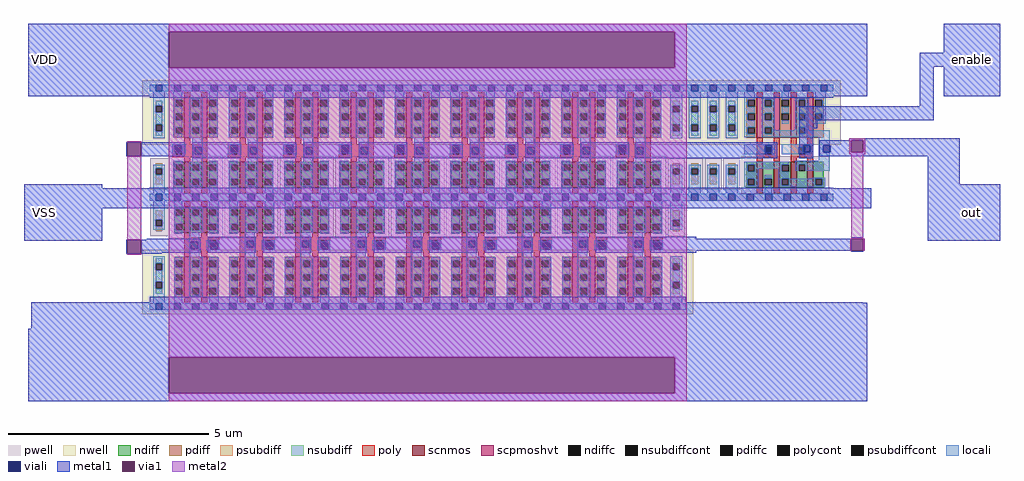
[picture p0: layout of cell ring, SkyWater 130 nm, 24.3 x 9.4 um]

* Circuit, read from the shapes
.subckt ring VSS VDD enable out
XM1 sky130_fd_sc_hd__inv_2_1/A sky130_fd_sc_hd__inv_2_8/A VSS VSS sky130_fd_pr__nfet_01v8 w=0.65 l=0.15 m=2
XM2 sky130_fd_sc_hd__inv_2_2/A sky130_fd_sc_hd__inv_2_1/A VSS VSS sky130_fd_pr__nfet_01v8 w=0.65 l=0.15 m=2
XM3 sky130_fd_sc_hd__inv_2_8/A sky130_fd_sc_hd__inv_2_17/A VSS VSS sky130_fd_pr__nfet_01v8 w=0.65 l=0.15 m=2
XM4 sky130_fd_sc_hd__inv_2_3/A sky130_fd_sc_hd__inv_2_2/A VSS VSS sky130_fd_pr__nfet_01v8 w=0.65 l=0.15 m=2
XM5 sky130_fd_sc_hd__inv_2_17/A sky130_fd_sc_hd__inv_2_16/A VSS VSS sky130_fd_pr__nfet_01v8 w=0.65 l=0.15 m=2
XM6 sky130_fd_sc_hd__inv_2_4/A sky130_fd_sc_hd__inv_2_3/A VSS VSS sky130_fd_pr__nfet_01v8 w=0.65 l=0.15 m=2
XM7 sky130_fd_sc_hd__inv_2_16/A sky130_fd_sc_hd__inv_2_15/A VSS VSS sky130_fd_pr__nfet_01v8 w=0.65 l=0.15 m=2
XM8 sky130_fd_sc_hd__inv_2_5/A sky130_fd_sc_hd__inv_2_4/A VSS VSS sky130_fd_pr__nfet_01v8 w=0.65 l=0.15 m=2
XM9 sky130_fd_sc_hd__inv_2_15/A sky130_fd_sc_hd__inv_2_14/A VSS VSS sky130_fd_pr__nfet_01v8 w=0.65 l=0.15 m=2
XM10 sky130_fd_sc_hd__inv_2_6/A sky130_fd_sc_hd__inv_2_5/A VSS VSS sky130_fd_pr__nfet_01v8 w=0.65 l=0.15 m=2
XM11 sky130_fd_sc_hd__inv_2_14/A sky130_fd_sc_hd__inv_2_13/A VSS VSS sky130_fd_pr__nfet_01v8 w=0.65 l=0.15 m=2
XM12 sky130_fd_sc_hd__inv_2_7/A sky130_fd_sc_hd__inv_2_6/A VSS VSS sky130_fd_pr__nfet_01v8 w=0.65 l=0.15 m=2
XM13 sky130_fd_sc_hd__inv_2_13/A sky130_fd_sc_hd__inv_2_12/A VSS VSS sky130_fd_pr__nfet_01v8 w=0.65 l=0.15 m=2
XM14 sky130_fd_sc_hd__inv_2_0/A sky130_fd_sc_hd__inv_2_7/A VSS VSS sky130_fd_pr__nfet_01v8 w=0.65 l=0.15 m=2
XM15 sky130_fd_sc_hd__inv_2_12/A sky130_fd_sc_hd__inv_2_11/A VSS VSS sky130_fd_pr__nfet_01v8 w=0.65 l=0.15 m=2
XM16 sky130_fd_sc_hd__inv_2_9/A sky130_fd_sc_hd__inv_2_0/A VSS VSS sky130_fd_pr__nfet_01v8 w=0.65 l=0.15 m=2
XM17 sky130_fd_sc_hd__inv_2_11/A out VSS VSS sky130_fd_pr__nfet_01v8 w=0.65 l=0.15 m=2
XM18 sky130_fd_sc_hd__nand2_2_0/B sky130_fd_sc_hd__inv_2_9/A VSS VSS sky130_fd_pr__nfet_01v8 w=0.65 l=0.15 m=2
XM19 VSS sky130_fd_sc_hd__nand2_2_0/B n1 VSS sky130_fd_pr__nfet_01v8 w=0.65 l=0.15 m=2
XM20 out enable n1 VSS sky130_fd_pr__nfet_01v8 w=0.65 l=0.15 m=2
XM21 sky130_fd_sc_hd__inv_2_1/A sky130_fd_sc_hd__inv_2_8/A VDD VDD sky130_fd_pr__pfet_01v8_hvt w=1 l=0.15 m=2
XM22 sky130_fd_sc_hd__inv_2_2/A sky130_fd_sc_hd__inv_2_1/A VDD VDD sky130_fd_pr__pfet_01v8_hvt w=1 l=0.15 m=2
XM23 sky130_fd_sc_hd__inv_2_8/A sky130_fd_sc_hd__inv_2_17/A VDD VDD sky130_fd_pr__pfet_01v8_hvt w=1 l=0.15 m=2
XM24 sky130_fd_sc_hd__inv_2_3/A sky130_fd_sc_hd__inv_2_2/A VDD VDD sky130_fd_pr__pfet_01v8_hvt w=1 l=0.15 m=2
XM25 sky130_fd_sc_hd__inv_2_17/A sky130_fd_sc_hd__inv_2_16/A VDD VDD sky130_fd_pr__pfet_01v8_hvt w=1 l=0.15 m=2
XM26 sky130_fd_sc_hd__inv_2_4/A sky130_fd_sc_hd__inv_2_3/A VDD VDD sky130_fd_pr__pfet_01v8_hvt w=1 l=0.15 m=2
XM27 sky130_fd_sc_hd__inv_2_16/A sky130_fd_sc_hd__inv_2_15/A VDD VDD sky130_fd_pr__pfet_01v8_hvt w=1 l=0.15 m=2
XM28 sky130_fd_sc_hd__inv_2_5/A sky130_fd_sc_hd__inv_2_4/A VDD VDD sky130_fd_pr__pfet_01v8_hvt w=1 l=0.15 m=2
XM29 sky130_fd_sc_hd__inv_2_15/A sky130_fd_sc_hd__inv_2_14/A VDD VDD sky130_fd_pr__pfet_01v8_hvt w=1 l=0.15 m=2
XM30 sky130_fd_sc_hd__inv_2_6/A sky130_fd_sc_hd__inv_2_5/A VDD VDD sky130_fd_pr__pfet_01v8_hvt w=1 l=0.15 m=2
XM31 sky130_fd_sc_hd__inv_2_14/A sky130_fd_sc_hd__inv_2_13/A VDD VDD sky130_fd_pr__pfet_01v8_hvt w=1 l=0.15 m=2
XM32 sky130_fd_sc_hd__inv_2_7/A sky130_fd_sc_hd__inv_2_6/A VDD VDD sky130_fd_pr__pfet_01v8_hvt w=1 l=0.15 m=2
XM33 sky130_fd_sc_hd__inv_2_13/A sky130_fd_sc_hd__inv_2_12/A VDD VDD sky130_fd_pr__pfet_01v8_hvt w=1 l=0.15 m=2
XM34 sky130_fd_sc_hd__inv_2_0/A sky130_fd_sc_hd__inv_2_7/A VDD VDD sky130_fd_pr__pfet_01v8_hvt w=1 l=0.15 m=2
XM35 sky130_fd_sc_hd__inv_2_12/A sky130_fd_sc_hd__inv_2_11/A VDD VDD sky130_fd_pr__pfet_01v8_hvt w=1 l=0.15 m=2
XM36 sky130_fd_sc_hd__inv_2_9/A sky130_fd_sc_hd__inv_2_0/A VDD VDD sky130_fd_pr__pfet_01v8_hvt w=1 l=0.15 m=2
XM37 sky130_fd_sc_hd__inv_2_11/A out VDD VDD sky130_fd_pr__pfet_01v8_hvt w=1 l=0.15 m=2
XM38 sky130_fd_sc_hd__nand2_2_0/B sky130_fd_sc_hd__inv_2_9/A VDD VDD sky130_fd_pr__pfet_01v8_hvt w=1 l=0.15 m=2
XM39 out sky130_fd_sc_hd__nand2_2_0/B VDD VDD sky130_fd_pr__pfet_01v8_hvt w=1 l=0.15 m=2
XM40 out enable VDD VDD sky130_fd_pr__pfet_01v8_hvt w=1 l=0.15 m=2
.ends

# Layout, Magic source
magic
tech sky130A
magscale 1 2
<< nwell >>
rect 2640 136 2944 360
<< viali >>
rect 530 0 564 34
rect 630 -10 664 24
rect 810 0 844 34
rect 906 -10 940 24
rect 1086 0 1120 34
rect 1182 -10 1216 24
rect 1362 0 1396 34
rect 1458 -10 1492 24
rect 1638 0 1672 34
rect 1734 -10 1768 24
rect 1914 0 1948 34
rect 2010 -10 2044 24
rect 2190 0 2224 34
rect 2286 -10 2320 24
rect 2466 0 2500 34
rect 2562 -10 2596 24
rect 2742 0 2776 34
rect 2830 -10 2864 24
rect 3470 0 3504 34
rect 3660 0 3694 34
rect 3760 0 3794 34
rect 610 -480 644 -446
rect 710 -484 744 -450
rect 890 -474 924 -440
rect 986 -484 1020 -450
rect 1166 -474 1200 -440
rect 1262 -484 1296 -450
rect 1442 -474 1476 -440
rect 1538 -484 1572 -450
rect 1718 -474 1752 -440
rect 1814 -484 1848 -450
rect 1994 -474 2028 -440
rect 2090 -484 2124 -450
rect 2270 -474 2304 -440
rect 2366 -484 2400 -450
rect 2546 -474 2580 -440
rect 2642 -484 2676 -450
rect 2822 -474 2856 -440
rect 2918 -484 2952 -450
<< metal1 >>
rect -200 600 3980 640
rect -200 420 500 600
rect 3020 420 3980 600
rect 4360 495 4640 640
rect -200 280 3980 420
rect 4240 425 4640 495
rect 4240 230 4310 425
rect 4360 280 4640 425
rect 3640 160 4310 230
rect 3640 120 3730 160
rect 289 -20 295 50
rect 365 34 580 50
rect 365 0 530 34
rect 564 0 580 34
rect 365 -20 580 0
rect 620 34 860 50
rect 620 24 810 34
rect 620 -10 630 24
rect 664 0 810 24
rect 844 0 860 34
rect 664 -10 860 0
rect 620 -30 860 -10
rect 896 34 1136 50
rect 896 24 1086 34
rect 896 -10 906 24
rect 940 0 1086 24
rect 1120 0 1136 34
rect 940 -10 1136 0
rect 896 -30 1136 -10
rect 1172 34 1412 50
rect 1172 24 1362 34
rect 1172 -10 1182 24
rect 1216 0 1362 24
rect 1396 0 1412 34
rect 1216 -10 1412 0
rect 1172 -30 1412 -10
rect 1448 34 1688 50
rect 1448 24 1638 34
rect 1448 -10 1458 24
rect 1492 0 1638 24
rect 1672 0 1688 34
rect 1492 -10 1688 0
rect 1448 -30 1688 -10
rect 1724 34 1964 50
rect 1724 24 1914 34
rect 1724 -10 1734 24
rect 1768 0 1914 24
rect 1948 0 1964 34
rect 1768 -10 1964 0
rect 1724 -30 1964 -10
rect 2000 34 2240 50
rect 2000 24 2190 34
rect 2000 -10 2010 24
rect 2044 0 2190 24
rect 2224 0 2240 34
rect 2044 -10 2240 0
rect 2000 -30 2240 -10
rect 2276 34 2516 50
rect 2276 24 2466 34
rect 2276 -10 2286 24
rect 2320 0 2466 24
rect 2500 0 2516 34
rect 2320 -10 2516 0
rect 2276 -30 2516 -10
rect 2552 34 2792 50
rect 2552 24 2742 34
rect 2552 -10 2562 24
rect 2596 0 2742 24
rect 2776 0 2792 34
rect 2596 -10 2792 0
rect 2552 -30 2792 -10
rect 2820 34 3530 50
rect 2820 24 3470 34
rect 2820 -10 2830 24
rect 2864 0 3470 24
rect 3504 0 3530 34
rect 2864 -10 3530 0
rect 2820 -30 3530 -10
rect 3640 34 3710 120
rect 3890 60 4440 70
rect 3640 0 3660 34
rect 3694 0 3710 34
rect 3640 -30 3710 0
rect 3740 34 3900 60
rect 3740 0 3760 34
rect 3794 0 3900 34
rect 3960 0 4440 60
rect 3740 -20 4440 0
rect 4280 -160 4440 -20
rect -220 -180 170 -160
rect -220 -280 4000 -180
rect -220 -440 170 -280
rect 390 -435 660 -430
rect 289 -505 295 -435
rect 365 -446 660 -435
rect 365 -480 610 -446
rect 644 -480 660 -446
rect 365 -500 660 -480
rect 694 -440 934 -420
rect 694 -450 890 -440
rect 694 -484 710 -450
rect 744 -474 890 -450
rect 924 -474 934 -440
rect 744 -484 934 -474
rect 694 -500 934 -484
rect 970 -440 1210 -420
rect 970 -450 1166 -440
rect 970 -484 986 -450
rect 1020 -474 1166 -450
rect 1200 -474 1210 -440
rect 1020 -484 1210 -474
rect 970 -500 1210 -484
rect 1246 -440 1486 -420
rect 1246 -450 1442 -440
rect 1246 -484 1262 -450
rect 1296 -474 1442 -450
rect 1476 -474 1486 -440
rect 1296 -484 1486 -474
rect 1246 -500 1486 -484
rect 1522 -440 1762 -420
rect 1522 -450 1718 -440
rect 1522 -484 1538 -450
rect 1572 -474 1718 -450
rect 1752 -474 1762 -440
rect 1572 -484 1762 -474
rect 1522 -500 1762 -484
rect 1798 -440 2038 -420
rect 1798 -450 1994 -440
rect 1798 -484 1814 -450
rect 1848 -474 1994 -450
rect 2028 -474 2038 -440
rect 1848 -484 2038 -474
rect 1798 -500 2038 -484
rect 2074 -440 2314 -420
rect 2074 -450 2270 -440
rect 2074 -484 2090 -450
rect 2124 -474 2270 -450
rect 2304 -474 2314 -440
rect 2124 -484 2314 -474
rect 2074 -500 2314 -484
rect 2350 -440 2590 -420
rect 2350 -450 2546 -440
rect 2350 -484 2366 -450
rect 2400 -474 2546 -450
rect 2580 -474 2590 -440
rect 2400 -484 2590 -474
rect 2350 -500 2590 -484
rect 2626 -440 2866 -420
rect 2626 -450 2822 -440
rect 2626 -484 2642 -450
rect 2676 -474 2822 -450
rect 2856 -474 2866 -440
rect 2676 -484 2866 -474
rect 2626 -500 2866 -484
rect 2902 -430 3128 -420
rect 3900 -430 3960 -424
rect 2902 -450 3900 -430
rect 2902 -484 2918 -450
rect 2952 -484 3900 -450
rect 2902 -490 3900 -484
rect 4280 -440 4640 -160
rect 2902 -500 3128 -490
rect 3900 -496 3960 -490
rect 365 -505 465 -500
rect -184 -750 3956 -748
rect -184 -880 3980 -750
rect -200 -1020 3980 -880
rect -200 -1200 500 -1020
rect 3020 -1200 3980 -1020
rect -200 -1240 3980 -1200
<< via1 >>
rect 500 420 3020 600
rect 295 -20 365 50
rect 3900 0 3960 60
rect 295 -505 365 -435
rect 3900 -490 3960 -430
rect 500 -1200 3020 -1020
<< metal2 >>
rect 500 600 3080 640
rect 3020 420 3080 600
rect 295 50 365 56
rect 295 -435 365 -20
rect 295 -511 365 -505
rect 500 -1020 3080 420
rect 3890 60 3970 70
rect 3890 0 3900 60
rect 3960 0 3970 60
rect 3890 -10 3970 0
rect 3900 -430 3960 -10
rect 3894 -490 3900 -430
rect 3960 -490 3966 -430
rect 3020 -1200 3080 -1020
rect 500 -1240 3080 -1200
use sky130_fd_sc_hd__inv_2  sky130_fd_sc_hd__inv_2_0
transform 1 0 2430 0 1 -224
box -38 -48 314 592
use sky130_fd_sc_hd__inv_2  sky130_fd_sc_hd__inv_2_1
transform 1 0 498 0 1 -224
box -38 -48 314 592
use sky130_fd_sc_hd__inv_2  sky130_fd_sc_hd__inv_2_2
transform 1 0 774 0 1 -224
box -38 -48 314 592
use sky130_fd_sc_hd__inv_2  sky130_fd_sc_hd__inv_2_3
transform 1 0 1050 0 1 -224
box -38 -48 314 592
use sky130_fd_sc_hd__inv_2  sky130_fd_sc_hd__inv_2_4
transform 1 0 1326 0 1 -224
box -38 -48 314 592
use sky130_fd_sc_hd__inv_2  sky130_fd_sc_hd__inv_2_5
transform 1 0 1602 0 1 -224
box -38 -48 314 592
use sky130_fd_sc_hd__inv_2  sky130_fd_sc_hd__inv_2_6
transform 1 0 1878 0 1 -224
box -38 -48 314 592
use sky130_fd_sc_hd__inv_2  sky130_fd_sc_hd__inv_2_7
transform 1 0 2154 0 1 -224
box -38 -48 314 592
use sky130_fd_sc_hd__inv_2  sky130_fd_sc_hd__inv_2_8
transform -1 0 774 0 -1 -224
box -38 -48 314 592
use sky130_fd_sc_hd__inv_2  sky130_fd_sc_hd__inv_2_9
transform 1 0 2706 0 1 -224
box -38 -48 314 592
use sky130_fd_sc_hd__inv_2  sky130_fd_sc_hd__inv_2_10
transform -1 0 2982 0 -1 -224
box -38 -48 314 592
use sky130_fd_sc_hd__inv_2  sky130_fd_sc_hd__inv_2_11
transform -1 0 2706 0 -1 -224
box -38 -48 314 592
use sky130_fd_sc_hd__inv_2  sky130_fd_sc_hd__inv_2_12
transform -1 0 2430 0 -1 -224
box -38 -48 314 592
use sky130_fd_sc_hd__inv_2  sky130_fd_sc_hd__inv_2_13
transform -1 0 2154 0 -1 -224
box -38 -48 314 592
use sky130_fd_sc_hd__inv_2  sky130_fd_sc_hd__inv_2_14
transform -1 0 1878 0 -1 -224
box -38 -48 314 592
use sky130_fd_sc_hd__inv_2  sky130_fd_sc_hd__inv_2_15
transform -1 0 1602 0 -1 -224
box -38 -48 314 592
use sky130_fd_sc_hd__inv_2  sky130_fd_sc_hd__inv_2_16
transform -1 0 1326 0 -1 -224
box -38 -48 314 592
use sky130_fd_sc_hd__inv_2  sky130_fd_sc_hd__inv_2_17
transform -1 0 1050 0 -1 -224
box -38 -48 314 592
use sky130_fd_sc_hd__nand2_2  sky130_fd_sc_hd__nand2_2_0
transform 1 0 3350 0 1 -224
box -38 -48 498 592
use sky130_fd_sc_hd__tapvpwrvgnd_1  sky130_fd_sc_hd__tapvpwrvgnd_1_0
transform 1 0 406 0 -1 -224
box -38 -48 130 592
use sky130_fd_sc_hd__tapvpwrvgnd_1  sky130_fd_sc_hd__tapvpwrvgnd_1_1
transform 1 0 406 0 1 -224
box -38 -48 130 592
use sky130_fd_sc_hd__tapvpwrvgnd_1  sky130_fd_sc_hd__tapvpwrvgnd_1_2
transform 1 0 2982 0 -1 -224
box -38 -48 130 592
use sky130_fd_sc_hd__tapvpwrvgnd_1  sky130_fd_sc_hd__tapvpwrvgnd_1_3
transform 1 0 2982 0 1 -224
box -38 -48 130 592
use sky130_fd_sc_hd__tapvpwrvgnd_1  sky130_fd_sc_hd__tapvpwrvgnd_1_4
transform 1 0 3166 0 1 -224
box -38 -48 130 592
use sky130_fd_sc_hd__tapvpwrvgnd_1  sky130_fd_sc_hd__tapvpwrvgnd_1_5
transform 1 0 3258 0 1 -224
box -38 -48 130 592
use sky130_fd_sc_hd__tapvpwrvgnd_1  sky130_fd_sc_hd__tapvpwrvgnd_1_6
transform 1 0 3074 0 1 -224
box -38 -48 130 592
<< labels >>
flabel metal1 -200 280 -40 640 0 FreeSans 1600 0 0 0 VDD
port 2 nsew
flabel metal1 4360 280 4640 640 0 FreeSans 1600 0 0 0 enable
port 3 nsew
flabel metal1 4360 -440 4640 -160 0 FreeSans 1600 0 0 0 out
port 5 nsew
flabel metal1 -220 -440 -20 -160 0 FreeSans 1600 0 0 0 VSS
port 0 nsew
<< end >>

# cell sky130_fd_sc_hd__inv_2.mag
magic
tech sky130A
magscale 1 2
<< nwell >>
rect -38 261 314 582
<< pwell >>
rect 3 21 273 203
rect 29 -17 63 21
<< scnmos >>
rect 81 47 111 177
rect 165 47 195 177
<< scpmoshvt >>
rect 81 297 111 497
rect 165 297 195 497
<< ndiff >>
rect 29 165 81 177
rect 29 131 37 165
rect 71 131 81 165
rect 29 93 81 131
rect 29 59 37 93
rect 71 59 81 93
rect 29 47 81 59
rect 111 165 165 177
rect 111 131 121 165
rect 155 131 165 165
rect 111 93 165 131
rect 111 59 121 93
rect 155 59 165 93
rect 111 47 165 59
rect 195 165 247 177
rect 195 131 205 165
rect 239 131 247 165
rect 195 93 247 131
rect 195 59 205 93
rect 239 59 247 93
rect 195 47 247 59
<< pdiff >>
rect 29 485 81 497
rect 29 451 37 485
rect 71 451 81 485
rect 29 417 81 451
rect 29 383 37 417
rect 71 383 81 417
rect 29 349 81 383
rect 29 315 37 349
rect 71 315 81 349
rect 29 297 81 315
rect 111 485 165 497
rect 111 451 121 485
rect 155 451 165 485
rect 111 417 165 451
rect 111 383 121 417
rect 155 383 165 417
rect 111 349 165 383
rect 111 315 121 349
rect 155 315 165 349
rect 111 297 165 315
rect 195 485 247 497
rect 195 451 205 485
rect 239 451 247 485
rect 195 417 247 451
rect 195 383 205 417
rect 239 383 247 417
rect 195 349 247 383
rect 195 315 205 349
rect 239 315 247 349
rect 195 297 247 315
<< ndiffc >>
rect 37 131 71 165
rect 37 59 71 93
rect 121 131 155 165
rect 121 59 155 93
rect 205 131 239 165
rect 205 59 239 93
<< pdiffc >>
rect 37 451 71 485
rect 37 383 71 417
rect 37 315 71 349
rect 121 451 155 485
rect 121 383 155 417
rect 121 315 155 349
rect 205 451 239 485
rect 205 383 239 417
rect 205 315 239 349
<< poly >>
rect 81 497 111 523
rect 165 497 195 523
rect 81 265 111 297
rect 165 265 195 297
rect 21 249 195 265
rect 21 215 37 249
rect 71 215 195 249
rect 21 199 195 215
rect 81 177 111 199
rect 165 177 195 199
rect 81 21 111 47
rect 165 21 195 47
<< polycont >>
rect 37 215 71 249
<< locali >>
rect 0 527 29 561
rect 63 527 121 561
rect 155 527 213 561
rect 247 527 276 561
rect 25 485 71 527
rect 25 451 37 485
rect 25 417 71 451
rect 25 383 37 417
rect 25 349 71 383
rect 25 315 37 349
rect 25 299 71 315
rect 105 485 171 493
rect 105 451 121 485
rect 155 451 171 485
rect 105 417 171 451
rect 105 383 121 417
rect 155 383 171 417
rect 105 349 171 383
rect 105 315 121 349
rect 155 315 171 349
rect 105 297 171 315
rect 205 485 247 527
rect 239 451 247 485
rect 205 417 247 451
rect 239 383 247 417
rect 205 349 247 383
rect 239 315 247 349
rect 205 299 247 315
rect 21 249 87 265
rect 21 215 37 249
rect 71 215 87 249
rect 25 165 71 181
rect 121 177 171 297
rect 25 131 37 165
rect 25 93 71 131
rect 25 59 37 93
rect 25 17 71 59
rect 105 165 171 177
rect 105 131 121 165
rect 155 131 171 165
rect 105 93 171 131
rect 105 59 121 93
rect 155 59 171 93
rect 105 51 171 59
rect 205 165 247 181
rect 239 131 247 165
rect 205 93 247 131
rect 239 59 247 93
rect 205 17 247 59
rect 0 -17 29 17
rect 63 -17 121 17
rect 155 -17 213 17
rect 247 -17 276 17
<< viali >>
rect 29 527 63 561
rect 121 527 155 561
rect 213 527 247 561
rect 29 -17 63 17
rect 121 -17 155 17
rect 213 -17 247 17
<< metal1 >>
rect 0 561 276 592
rect 0 527 29 561
rect 63 527 121 561
rect 155 527 213 561
rect 247 527 276 561
rect 0 496 276 527
rect 0 17 276 48
rect 0 -17 29 17
rect 63 -17 121 17
rect 155 -17 213 17
rect 247 -17 276 17
rect 0 -48 276 -17
<< labels >>
flabel locali s 29 221 63 255 0 FreeSans 340 0 0 0 A
port 1 nsew signal input
flabel locali s 121 153 155 187 0 FreeSans 340 0 0 0 Y
port 6 nsew signal output
flabel locali s 121 289 155 323 0 FreeSans 340 0 0 0 Y
port 6 nsew signal output
flabel locali s 121 221 155 255 0 FreeSans 340 0 0 0 Y
port 6 nsew signal output
flabel nwell s 29 527 63 561 0 FreeSans 200 0 0 0 VPB
port 4 nsew power bidirectional
flabel pwell s 29 -17 63 17 0 FreeSans 200 0 0 0 VNB
port 3 nsew ground bidirectional
flabel metal1 s 29 527 63 561 0 FreeSans 200 0 0 0 VPWR
port 5 nsew power bidirectional abutment
flabel metal1 s 29 -17 63 17 0 FreeSans 200 0 0 0 VGND
port 2 nsew ground bidirectional abutment
rlabel comment s 0 0 0 0 4 inv_2
rlabel metal1 s 0 -48 276 48 1 VGND
port 2 nsew ground bidirectional abutment
rlabel metal1 s 0 496 276 592 1 VPWR
port 5 nsew power bidirectional abutment
<< properties >>
string FIXED_BBOX 0 0 276 544
string GDS_END 1635320
string GDS_FILE $PDKPATH/libs.ref/sky130_fd_sc_hd/gds/sky130_fd_sc_hd.gds
string GDS_START 1631572
string LEFclass CORE
string LEFsite unithd
string LEFsymmetry X Y R90
string path 0.000 0.000 6.900 0.000 
<< end >>

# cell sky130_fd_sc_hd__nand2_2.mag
magic
tech sky130A
magscale 1 2
<< nwell >>
rect -38 261 498 582
<< pwell >>
rect 1 21 439 203
rect 30 -17 64 21
<< scnmos >>
rect 79 47 109 177
rect 163 47 193 177
rect 247 47 277 177
rect 331 47 361 177
<< scpmoshvt >>
rect 79 297 109 497
rect 163 297 193 497
rect 247 297 277 497
rect 331 297 361 497
<< ndiff >>
rect 27 161 79 177
rect 27 127 35 161
rect 69 127 79 161
rect 27 93 79 127
rect 27 59 35 93
rect 69 59 79 93
rect 27 47 79 59
rect 109 93 163 177
rect 109 59 119 93
rect 153 59 163 93
rect 109 47 163 59
rect 193 161 247 177
rect 193 127 203 161
rect 237 127 247 161
rect 193 93 247 127
rect 193 59 203 93
rect 237 59 247 93
rect 193 47 247 59
rect 277 165 331 177
rect 277 131 287 165
rect 321 131 331 165
rect 277 47 331 131
rect 361 93 413 177
rect 361 59 371 93
rect 405 59 413 93
rect 361 47 413 59
<< pdiff >>
rect 27 485 79 497
rect 27 451 35 485
rect 69 451 79 485
rect 27 417 79 451
rect 27 383 35 417
rect 69 383 79 417
rect 27 349 79 383
rect 27 315 35 349
rect 69 315 79 349
rect 27 297 79 315
rect 109 485 163 497
rect 109 451 119 485
rect 153 451 163 485
rect 109 417 163 451
rect 109 383 119 417
rect 153 383 163 417
rect 109 349 163 383
rect 109 315 119 349
rect 153 315 163 349
rect 109 297 163 315
rect 193 485 247 497
rect 193 451 203 485
rect 237 451 247 485
rect 193 417 247 451
rect 193 383 203 417
rect 237 383 247 417
rect 193 297 247 383
rect 277 485 331 497
rect 277 451 287 485
rect 321 451 331 485
rect 277 417 331 451
rect 277 383 287 417
rect 321 383 331 417
rect 277 349 331 383
rect 277 315 287 349
rect 321 315 331 349
rect 277 297 331 315
rect 361 485 413 497
rect 361 451 371 485
rect 405 451 413 485
rect 361 417 413 451
rect 361 383 371 417
rect 405 383 413 417
rect 361 297 413 383
<< ndiffc >>
rect 35 127 69 161
rect 35 59 69 93
rect 119 59 153 93
rect 203 127 237 161
rect 203 59 237 93
rect 287 131 321 165
rect 371 59 405 93
<< pdiffc >>
rect 35 451 69 485
rect 35 383 69 417
rect 35 315 69 349
rect 119 451 153 485
rect 119 383 153 417
rect 119 315 153 349
rect 203 451 237 485
rect 203 383 237 417
rect 287 451 321 485
rect 287 383 321 417
rect 287 315 321 349
rect 371 451 405 485
rect 371 383 405 417
<< poly >>
rect 79 497 109 523
rect 163 497 193 523
rect 247 497 277 523
rect 331 497 361 523
rect 79 265 109 297
rect 163 265 193 297
rect 79 249 193 265
rect 79 215 119 249
rect 153 215 193 249
rect 79 199 193 215
rect 79 177 109 199
rect 163 177 193 199
rect 247 265 277 297
rect 331 265 361 297
rect 247 249 361 265
rect 247 215 287 249
rect 321 215 361 249
rect 247 199 361 215
rect 247 177 277 199
rect 331 177 361 199
rect 79 21 109 47
rect 163 21 193 47
rect 247 21 277 47
rect 331 21 361 47
<< polycont >>
rect 119 215 153 249
rect 287 215 321 249
<< locali >>
rect 0 527 29 561
rect 63 527 121 561
rect 155 527 213 561
rect 247 527 305 561
rect 339 527 397 561
rect 431 527 460 561
rect 17 485 69 527
rect 17 451 35 485
rect 17 417 69 451
rect 17 383 35 417
rect 17 349 69 383
rect 17 315 35 349
rect 17 299 69 315
rect 103 485 169 493
rect 103 451 119 485
rect 153 451 169 485
rect 103 417 169 451
rect 103 383 119 417
rect 153 383 169 417
rect 103 349 169 383
rect 203 485 237 527
rect 203 417 237 451
rect 203 367 237 383
rect 271 485 337 493
rect 271 451 287 485
rect 321 451 337 485
rect 271 417 337 451
rect 271 383 287 417
rect 321 383 337 417
rect 103 315 119 349
rect 153 333 169 349
rect 271 349 337 383
rect 371 485 422 527
rect 405 451 422 485
rect 371 417 422 451
rect 405 383 422 417
rect 371 367 422 383
rect 271 333 287 349
rect 153 315 287 333
rect 321 333 337 349
rect 321 315 443 333
rect 103 299 443 315
rect 17 249 169 265
rect 17 215 119 249
rect 153 215 169 249
rect 203 249 353 265
rect 203 215 287 249
rect 321 215 353 249
rect 387 181 443 299
rect 17 161 237 177
rect 17 127 35 161
rect 69 143 203 161
rect 69 127 85 143
rect 17 93 85 127
rect 187 127 203 143
rect 271 165 443 181
rect 271 131 287 165
rect 321 131 443 165
rect 17 59 35 93
rect 69 59 85 93
rect 17 51 85 59
rect 119 93 153 109
rect 119 17 153 59
rect 187 93 237 127
rect 355 93 421 97
rect 187 59 203 93
rect 237 59 371 93
rect 405 59 421 93
rect 187 51 421 59
rect 0 -17 29 17
rect 63 -17 121 17
rect 155 -17 213 17
rect 247 -17 305 17
rect 339 -17 397 17
rect 431 -17 460 17
<< viali >>
rect 29 527 63 561
rect 121 527 155 561
rect 213 527 247 561
rect 305 527 339 561
rect 397 527 431 561
rect 29 -17 63 17
rect 121 -17 155 17
rect 213 -17 247 17
rect 305 -17 339 17
rect 397 -17 431 17
<< metal1 >>
rect 0 561 460 592
rect 0 527 29 561
rect 63 527 121 561
rect 155 527 213 561
rect 247 527 305 561
rect 339 527 397 561
rect 431 527 460 561
rect 0 496 460 527
rect 0 17 460 48
rect 0 -17 29 17
rect 63 -17 121 17
rect 155 -17 213 17
rect 247 -17 305 17
rect 339 -17 397 17
rect 431 -17 460 17
rect 0 -48 460 -17
<< labels >>
flabel locali s 398 153 432 187 0 FreeSans 250 0 0 0 Y
port 7 nsew signal output
flabel locali s 398 221 432 255 0 FreeSans 250 0 0 0 Y
port 7 nsew signal output
flabel locali s 398 289 432 323 0 FreeSans 250 0 0 0 Y
port 7 nsew signal output
flabel locali s 306 221 340 255 0 FreeSans 250 0 0 0 A
port 1 nsew signal input
flabel locali s 122 221 156 255 0 FreeSans 250 0 0 0 B
port 2 nsew signal input
flabel nwell s 30 527 64 561 0 FreeSans 200 0 0 0 VPB
port 5 nsew power bidirectional
flabel pwell s 30 -17 64 17 0 FreeSans 200 0 0 0 VNB
port 4 nsew ground bidirectional
flabel metal1 s 30 -17 64 17 0 FreeSans 200 0 0 0 VGND
port 3 nsew ground bidirectional abutment
flabel metal1 s 30 527 64 561 0 FreeSans 200 0 0 0 VPWR
port 6 nsew power bidirectional abutment
rlabel comment s 0 0 0 0 4 nand2_2
rlabel metal1 s 0 -48 460 48 1 VGND
port 3 nsew ground bidirectional abutment
rlabel metal1 s 0 496 460 592 1 VPWR
port 6 nsew power bidirectional abutment
<< properties >>
string FIXED_BBOX 0 0 460 544
string GDS_END 1631518
string GDS_FILE $PDKPATH/libs.ref/sky130_fd_sc_hd/gds/sky130_fd_sc_hd.gds
string GDS_START 1626538
string LEFclass CORE
string LEFsite unithd
string LEFsymmetry X Y R90
string path 0.000 0.000 11.500 0.000 
<< end >>

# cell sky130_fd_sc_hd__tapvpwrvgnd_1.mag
magic
tech sky130A
magscale 1 2
<< nwell >>
rect -38 261 130 582
<< pwell >>
rect 3 38 89 195
<< psubdiff >>
rect 29 145 63 169
rect 29 64 63 111
<< nsubdiff >>
rect 29 456 63 480
rect 29 363 63 422
rect 29 305 63 329
<< psubdiffcont >>
rect 29 111 63 145
<< nsubdiffcont >>
rect 29 422 63 456
rect 29 329 63 363
<< locali >>
rect 0 527 29 561
rect 63 527 92 561
rect 17 456 75 527
rect 17 422 29 456
rect 63 422 75 456
rect 17 363 75 422
rect 17 329 29 363
rect 63 329 75 363
rect 17 294 75 329
rect 17 145 75 162
rect 17 111 29 145
rect 63 111 75 145
rect 17 17 75 111
rect 0 -17 29 17
rect 63 -17 92 17
<< viali >>
rect 29 527 63 561
rect 29 -17 63 17
<< metal1 >>
rect 0 561 92 592
rect 0 527 29 561
rect 63 527 92 561
rect 0 496 92 527
rect 0 17 92 48
rect 0 -17 29 17
rect 63 -17 92 17
rect 0 -48 92 -17
<< labels >>
flabel metal1 s 22 524 75 553 0 FreeSans 200 0 0 0 VPWR
port 2 nsew power bidirectional abutment
flabel metal1 s 21 -18 72 20 0 FreeSans 200 0 0 0 VGND
port 1 nsew ground bidirectional abutment
rlabel comment s 0 0 0 0 4 tapvpwrvgnd_1
rlabel metal1 s 0 -48 92 48 1 VGND
port 1 nsew ground bidirectional abutment
rlabel metal1 s 0 496 92 592 1 VPWR
port 2 nsew power bidirectional abutment
<< properties >>
string FIXED_BBOX 0 0 92 544
string GDS_END 634034
string GDS_FILE $PDKPATH/libs.ref/sky130_fd_sc_hd/gds/sky130_fd_sc_hd.gds
string GDS_START 632414
string LEFclass CORE WELLTAP
string LEFsite unithd
string LEFsymmetry X Y R90
string MASKHINTS_PSDM 0 38 92 195
string MASKHINTS_NSDM 0 279 92 506
<< end >>
